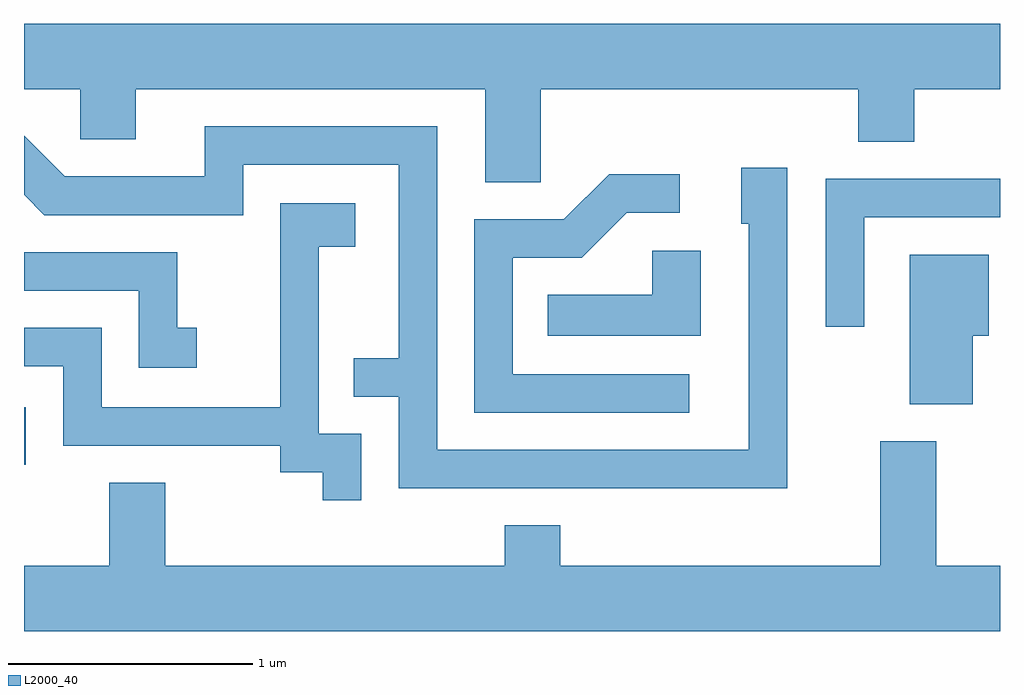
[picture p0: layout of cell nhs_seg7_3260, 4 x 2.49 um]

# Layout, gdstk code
import gdstk
lib = gdstk.Library(unit=1e-6, precision=1e-09)
def R(c, l, rs):  # rectangles x0, y0, x1, y1
    for r in rs: c.add(gdstk.rectangle(r[:2], r[2:], *l))
def P(c, l, *ps):  # polygons
    for p in ps: c.add(gdstk.Polygon(p, *l))
L2000_40 = (2000, 40)

nhs_seg7_3260 = lib.new_cell('nhs_seg7_3260')
R(nhs_seg7_3260, L2000_40, [(285.611,1697.238,285.619,1697.474)])
P(nhs_seg7_3260, L2000_40, [(287.729,1698.776),(289.031,1698.776),(289.031,1698.561),(289.259,1698.561),(289.259,1698.776),(289.611,1698.776),(289.611,1699.044),(285.611,1699.044),(285.611,1698.776),(285.841,1698.776),(285.841,1698.571),(286.069,1698.571),(286.069,1698.776),(287.501,1698.776),(287.501,1698.396),(287.729,1698.396)],
  [(288.739,1698.454),(288.551,1698.454),(288.551,1698.226),(288.581,1698.226),(288.581,1697.299),(287.304,1697.299),(287.304,1698.624),(286.351,1698.624),(286.351,1698.419),(285.777,1698.419),(285.611,1698.585),(285.611,1698.344),(285.694,1698.261),(286.509,1698.261),(286.509,1698.466),(287.146,1698.466),(287.146,1697.674),(286.963,1697.674),(286.963,1697.516),(287.146,1697.516),(287.146,1697.141),(288.739,1697.141)],
  [(288.338,1697.609),(287.614,1697.609),(287.614,1698.086),(287.897,1698.086),(288.082,1698.271),(288.298,1698.271),(288.298,1698.429),(288.009,1698.429),(287.824,1698.244),(287.456,1698.244),(287.456,1697.451),(288.338,1697.451)],
  [(289.054,1698.251),(289.611,1698.251),(289.611,1698.409),(288.896,1698.409),(288.896,1697.803),(289.054,1697.803)],
  [(286.994,1697.364),(286.819,1697.364),(286.819,1698.131),(286.969,1698.131),(286.969,1698.309),(286.661,1698.309),(286.661,1697.474),(285.929,1697.474),(285.929,1697.799),(285.611,1697.799),(285.611,1697.641),(285.771,1697.641),(285.771,1697.316),(286.661,1697.316),(286.661,1697.206),(286.836,1697.206),(286.836,1697.093),(286.994,1697.093)],
  [(288.384,1698.114),(288.186,1698.114),(288.186,1697.934),(287.758,1697.934),(287.758,1697.766),(288.384,1697.766)],
  [(286.318,1697.799),(286.239,1697.799),(286.239,1698.109),(285.611,1698.109),(285.611,1697.951),(286.081,1697.951),(286.081,1697.636),(286.318,1697.636)],
  [(289.499,1697.766),(289.564,1697.766),(289.564,1698.099),(289.241,1698.099),(289.241,1697.486),(289.499,1697.486)],
  [(289.611,1696.824),(289.349,1696.824),(289.349,1697.334),(289.121,1697.334),(289.121,1696.824),(287.809,1696.824),(287.809,1696.989),(287.581,1696.989),(287.581,1696.824),(286.189,1696.824),(286.189,1697.164),(285.961,1697.164),(285.961,1696.824),(285.611,1696.824),(285.611,1696.556),(289.611,1696.556)])

lib.write_gds('nhs_seg7_3260.gds')
